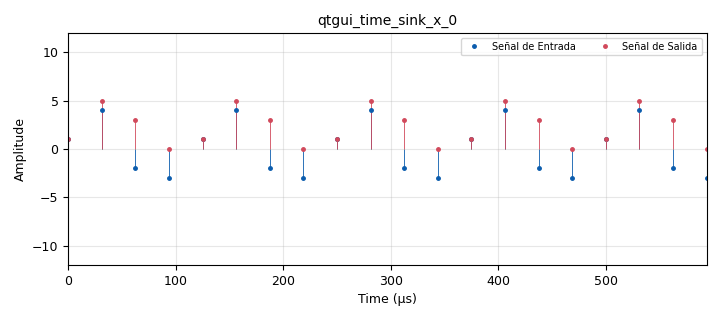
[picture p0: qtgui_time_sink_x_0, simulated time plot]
options:
  parameters:
    generate_options: qt_gui
    id: Acumulador
    output_language: python
    title: Not titled yet
  states: {}

blocks:
- name: samp_rate
  id: variable
  parameters:
    value: '32000'
  states: {}
- name: blocks_vector_source_x_0
  id: blocks_vector_source_x
  parameters:
    repeat: 'True'
    type: float
    vector: (1, 4, -2,-3)
  states: {}
- name: epy_block_0
  id: epy_block
  parameters:
    _source_code: |
      import numpy as np
      from gnuradio import gr


      class blk(gr.sync_block):  


          def __init__(self,):  
              """bloque acumulador simplemente toma la señal entrante y entrega acmulada"""
              gr.sync_block.__init__(
                  self,
                  name='Acumulador',   
                  in_sig=[np.float32],
                  out_sig=[np.float32]
                          
              )
              
              self.acum_anterior=0
              

          def work(self, input_items, output_items):
        	
              x= input_items[0]
              y= output_items[0]
              N=len(x)
              y[:]=self.acum_anterior+np.cumsum(x)
              self.acum_anterior=y[N-1]

              
          
              return len(x)
  states: {}
- name: qtgui_time_sink_x_0
  id: qtgui_time_sink_x
  parameters:
    color1: dark blue
    label1: Señal de Entrada
    label2: Señal de Salida
    marker1: '0'
    marker2: '0'
    nconnections: '2'
    size: '20'
    srate: samp_rate
    stemplot: 'True'
    type: float
    width1: '2'
    width2: '2'
    ymax: '12'
    ymin: '-12'
  states: {}

connections:
- [blocks_vector_source_x_0, '0', epy_block_0, '0']
- [blocks_vector_source_x_0, '0', qtgui_time_sink_x_0, '0']
- [epy_block_0, '0', qtgui_time_sink_x_0, '1']

metadata:
  file_format: 1
  grc_version: 3.9.8.0
